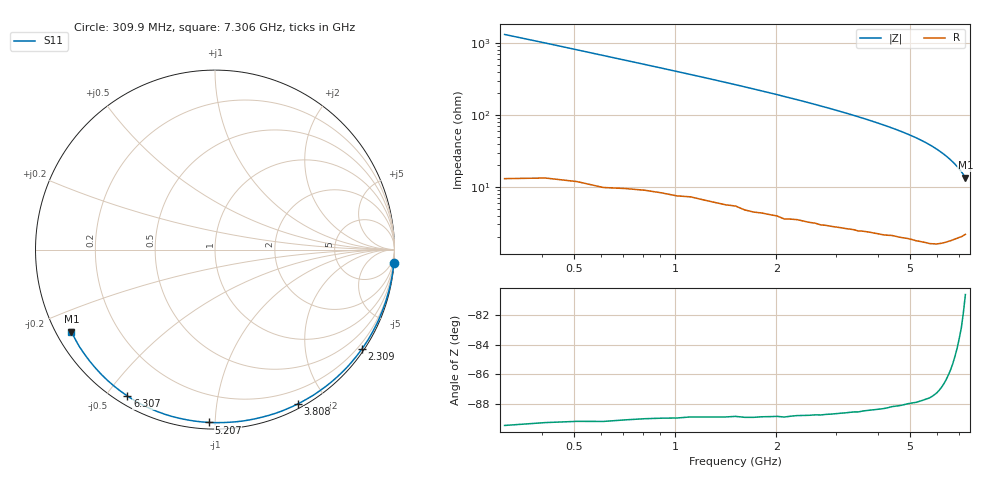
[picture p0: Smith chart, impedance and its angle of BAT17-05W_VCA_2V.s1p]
! Infineon Technologies  Discrete & RF Semiconductors
! BAT17-05W
! VCA = 2 V
! One-Port S-Parameters
# Hz  S  MA  R  50
!f  S11
!Hz  Mag  Ang
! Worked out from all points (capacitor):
!   71 points, 309.9 MHz to 7.306 GHz, reference 50 ohm
!   read as one part to ground: C = 388 fF near 309.9 MHz
!   lowest |Z| = 13.4 ohm at 7.306 GHz (marker M1)
!   S11 on the Smith chart (normalised r, x): 309.9 MHz: 0, -26; 2.309 GHz: 0.07, -3.25; 3.808 GHz: 0.05, -1.67; 5.207 GHz: 0.04, -0.96; 6.307 GHz: 0.03, -0.57; 7.306 GHz: 0.04, -0.27
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3.0985e8  0.9992 -4.3
7.0965e8  0.9972 -9.9
1.2094e9  0.9942 -17.0
1.4093e9  0.9932 -20.0
1.70915e9  0.992 -24.5
2.10895e9  0.9899 -30.9
2.30885e9  0.988 -34.2
2.70865e9  0.9855 -41.1
3.0085e9  0.9829 -46.5
3.4083e9  0.9794 -53.9
3.8081e9  0.9757 -61.8
4.008e9  0.974 -65.8
4.2079e9  0.9722 -70.0
4.50775e9  0.9689 -76.3
4.70765e9  0.9674 -80.7
5.0075e9  0.9648 -87.4
5.2074e9  0.9637 -92.1
5.4073e9  0.962 -96.9
5.6072e9  0.9605 -101.9
5.8071e9  0.9589 -107.1
6.007e9  0.9564 -112.5
6.2069e9  0.9527 -118.1
6.30685e9  0.9506 -120.9
6.50675e9  0.9457 -126.6
6.70665e9  0.9405 -132.3
6.90655e9  0.9348 -138.2
7.10645e9  0.9293 -144.2
7.30635e9  0.9214 -150.2
